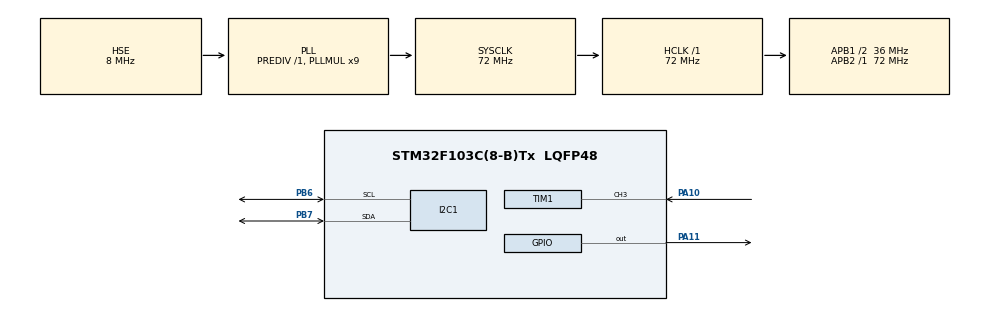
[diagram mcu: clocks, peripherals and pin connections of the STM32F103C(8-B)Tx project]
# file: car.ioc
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I2C1.I2C_Mode=I2C_Fast
Mcu.Family=STM32F1
Mcu.Name=STM32F103C(8-B)Tx
Mcu.Package=LQFP48
NVIC.PriorityGroup=NVIC_PRIORITYGROUP_4
NVIC.TIM1_CC_IRQn=true\:0\:0\:false\:false\:true\:true\:true\:true
PA10.Signal=S_TIM1_CH3
PA11.Signal=GPIO_Output
PA13.Mode=Serial_Wire
PA13.Signal=SYS_JTMS-SWDIO
PA14.Mode=Serial_Wire
PA14.Signal=SYS_JTCK-SWCLK
PB6.Mode=I2C
PB6.Signal=I2C1_SCL
PB7.Mode=I2C
PB7.Signal=I2C1_SDA
PD0-OSC_IN.Mode=HSE-External-Oscillator
PD0-OSC_IN.Signal=RCC_OSC_IN
PD1-OSC_OUT.Mode=HSE-External-Oscillator
PD1-OSC_OUT.Signal=RCC_OSC_OUT
ProjectManager.HeapSize=0x200
ProjectManager.StackSize=0x400
ProjectManager.TargetToolchain=MDK-ARM V5.32
RCC.AHBFreq_Value=72000000
RCC.APB1CLKDivider=RCC_HCLK_DIV2
RCC.APB1Freq_Value=36000000
RCC.APB1TimFreq_Value=72000000
RCC.APB2Freq_Value=72000000
RCC.APB2TimFreq_Value=72000000
RCC.HCLKFreq_Value=72000000
RCC.PLLMUL=RCC_PLL_MUL9
RCC.PLLSourceVirtual=RCC_PLLSOURCE_HSE
RCC.SYSCLKFreq_VALUE=72000000
RCC.SYSCLKSource=RCC_SYSCLKSOURCE_PLLCLK
RCC.USBFreq_Value=72000000
SH.S_TIM1_CH3.0=TIM1_CH3,Input_Capture3_from_TI3
TIM1.Channel-Input_Capture3_from_TI3=TIM_CHANNEL_3
TIM1.Channel-Input_Capture4_from_TI3_63=TIM_CHANNEL_4
TIM1.ICPolarity_CH4=TIM_INPUTCHANNELPOLARITY_FALLING
TIM1.Prescaler=72-1
VP_TIM1_VS_ClockSourceINT.Mode=Internal
VP_TIM1_VS_indirect_ch3.Mode=Input_Capture4_from_TI3_63
board=custom

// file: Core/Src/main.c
/* USER CODE BEGIN Header */
/**
  ******************************************************************************
  * @file           : main.c
  * @brief          : Main program body
  ******************************************************************************
  * @attention
  *
  * Copyright (c) 2026 STMicroelectronics.
  * All rights reserved.
  *
  * This software is licensed under terms that can be found in the LICENSE file
  * in the root directory of this software component.
  * If no LICENSE file comes with this software, it is provided AS-IS.
  *
  ******************************************************************************
  */
/* USER CODE END Header */
#include "main.h"
#include "i2c.h"
#include "tim.h"
#include "gpio.h"

/* USER CODE BEGIN Includes */
#include "oled.h"
#include "stdio.h"
/* USER CODE END Includes */

void SystemClock_Config(void);

/* USER CODE BEGIN 0 */
int upEdge=0;
int downEdge=0;
float distance=0;
float distance_2=0;
void HAL_TIM_IC_CaptureCallback(TIM_HandleTypeDef *htim)
{
	if(htim==&htim1 && htim->Channel==HAL_TIM_ACTIVE_CHANNEL_4)
	{
		upEdge=HAL_TIM_ReadCapturedValue(htim,TIM_CHANNEL_3);
		downEdge=HAL_TIM_ReadCapturedValue(htim,TIM_CHANNEL_4);
		distance=(downEdge-upEdge)*0.034/2;

	}
	if(htim==&htim1 && htim->Channel==HAL_TIM_ACTIVE_CHANNEL_2)
	{
		upEdge=HAL_TIM_ReadCapturedValue(htim,TIM_CHANNEL_1);
		downEdge=HAL_TIM_ReadCapturedValue(htim,TIM_CHANNEL_2);
		distance_2=(downEdge-upEdge)*0.034/2;

	}
}

/* USER CODE END 0 */

int main(void)
{

  /* MCU Configuration--------------------------------------------------------*/

  /* Reset of all peripherals, Initializes the Flash interface and the Systick. */
  HAL_Init();

  /* Configure the system clock */
  SystemClock_Config();

  /* Initialize all configured peripherals */
  MX_GPIO_Init();
  MX_I2C1_Init();
  MX_TIM1_Init();
  /* USER CODE BEGIN 2 */
  HAL_Delay(20);
  OLED_Init();
  HAL_TIM_Base_Start(&htim1);
  HAL_TIM_IC_Start(&htim1,TIM_CHANNEL_3);
  HAL_TIM_IC_Start_IT(&htim1,TIM_CHANNEL_4);

  char message[20]="";
  char message_2[20]="";
  char CarState[20]="";
  char Time[20]="";
  char Money[20]="";
  uint32_t busy_start_time = 0;
  uint8_t is_busy = 0;
  uint32_t busy_duration = 0;

  /* USER CODE END 2 */

  /* Infinite loop */
  /* USER CODE BEGIN WHILE */
  while (1)
  {
	   uint32_t now = HAL_GetTick();
	  HAL_GPIO_WritePin(GPIOA,GPIO_PIN_11,GPIO_PIN_SET);
	  HAL_Delay(1);
	  HAL_GPIO_WritePin(GPIOA,GPIO_PIN_11,GPIO_PIN_RESET);
	  __HAL_TIM_SET_COUNTER(&htim1,0);

	  OLED_NewFrame();
	  sprintf(message," %.2fcm",distance);
	  sprintf(message_2," %.2fcm",distance_2);
	  if(distance <= 3)
    {
        if(is_busy == 0)
        {
            is_busy = 1;
            busy_start_time = now;
        }

        busy_duration = now - busy_start_time;
        sprintf(CarState,"busy");
    }
    else
    {
        is_busy = 0;
        busy_duration = 0;
        sprintf(CarState,"null");
    }
	  uint32_t sec = busy_duration / 1000;
      uint32_t min = sec / 60;

      sec = sec % 60;

      sprintf(Time,"%d:%d",min,sec);

	sprintf(Money,"%d yuan",sec*100);

	  OLED_PrintString(0,0,CarState,&font16x16,OLED_COLOR_NORMAL);
	  OLED_PrintString(0,16,Time,&font16x16,OLED_COLOR_NORMAL);
	  OLED_PrintString(0,32,Money,&font16x16,OLED_COLOR_NORMAL);
	  OLED_PrintString(0,48,message,&font16x16,OLED_COLOR_NORMAL);
	  OLED_PrintString(32,48,message,&font16x16,OLED_COLOR_NORMAL);
	  OLED_ShowFrame();

	  HAL_Delay(100);
    /* USER CODE END WHILE */

  }
}

void SystemClock_Config(void)
{
  RCC_OscInitTypeDef RCC_OscInitStruct = {0};
  RCC_ClkInitTypeDef RCC_ClkInitStruct = {0};

  /** Initializes the RCC Oscillators according to the specified parameters
  * in the RCC_OscInitTypeDef structure.
  */
  RCC_OscInitStruct.OscillatorType = RCC_OSCILLATORTYPE_HSE;
  RCC_OscInitStruct.HSEState = RCC_HSE_ON;
  RCC_OscInitStruct.HSEPredivValue = RCC_HSE_PREDIV_DIV1;
  RCC_OscInitStruct.HSIState = RCC_HSI_ON;
  RCC_OscInitStruct.PLL.PLLState = RCC_PLL_ON;
  RCC_OscInitStruct.PLL.PLLSource = RCC_PLLSOURCE_HSE;
  RCC_OscInitStruct.PLL.PLLMUL = RCC_PLL_MUL9;
  if (HAL_RCC_OscConfig(&RCC_OscInitStruct) != HAL_OK)
  {
    Error_Handler();
  }

  /** Initializes the CPU, AHB and APB buses clocks
  */
  RCC_ClkInitStruct.ClockType = RCC_CLOCKTYPE_HCLK|RCC_CLOCKTYPE_SYSCLK
                              |RCC_CLOCKTYPE_PCLK1|RCC_CLOCKTYPE_PCLK2;
  RCC_ClkInitStruct.SYSCLKSource = RCC_SYSCLKSOURCE_PLLCLK;
  RCC_ClkInitStruct.AHBCLKDivider = RCC_SYSCLK_DIV1;
  RCC_ClkInitStruct.APB1CLKDivider = RCC_HCLK_DIV2;
  RCC_ClkInitStruct.APB2CLKDivider = RCC_HCLK_DIV1;

  if (HAL_RCC_ClockConfig(&RCC_ClkInitStruct, FLASH_LATENCY_2) != HAL_OK)
  {
    Error_Handler();
  }
}

void Error_Handler(void)
{
  __disable_irq();
  while (1)
  {
  }
}
